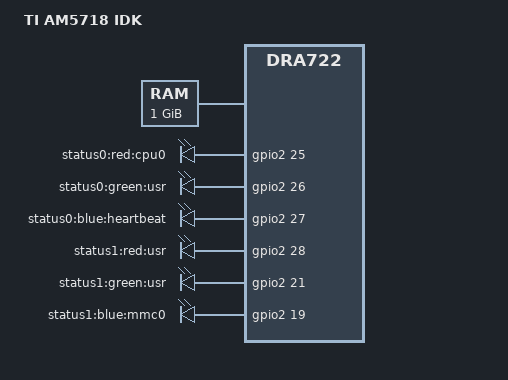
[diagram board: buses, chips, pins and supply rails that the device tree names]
/*
 * Copyright (C) 2015-2016 Texas Instruments Incorporated - http://www.ti.com/
 *
 * This program is free software; you can redistribute it and/or modify
 * it under the terms of the GNU General Public License version 2 as
 * published by the Free Software Foundation.
 */
/dts-v1/;

#include "dra72x.dtsi"
#include <dt-bindings/gpio/gpio.h>
#include <dt-bindings/interrupt-controller/irq.h>
#include "am57xx-idk-common.dtsi"

/ {
	model = "TI AM5718 IDK";
	compatible = "ti,am5718-idk", "ti,am5718", "ti,dra722",
		     "ti,dra72", "ti,dra7";

	chosen {
		stdout-path = &uart3;
	};

	memory {
		device_type = "memory";
		reg = <0x0 0x80000000 0x0 0x40000000>;
	};

	leds@1 {
		compatible = "gpio-leds";
		led@0 {
			label = "status0:red:cpu0";
			gpios = <&gpio2 25 GPIO_ACTIVE_HIGH>;
			default-state = "off";
			linux,default-trigger = "cpu0";
		};

		led@1 {
			label = "status0:green:usr";
			gpios = <&gpio2 26 GPIO_ACTIVE_HIGH>;
			default-state = "off";
		};

		led@2 {
			label = "status0:blue:heartbeat";
			gpios = <&gpio2 27 GPIO_ACTIVE_HIGH>;
			default-state = "off";
			linux,default-trigger = "heartbeat";
		};

		led@3 {
			label = "status1:red:usr";
			gpios = <&gpio2 28 GPIO_ACTIVE_HIGH>;
			default-state = "off";
		};

		led@4 {
			label = "status1:green:usr";
			gpios = <&gpio2 21 GPIO_ACTIVE_HIGH>;
			default-state = "off";
		};

		led@5 {
			label = "status1:blue:mmc0";
			gpios = <&gpio2 19 GPIO_ACTIVE_HIGH>;
			default-state = "off";
			linux,default-trigger = "mmc0";
		};
	};
};

&dra7_pmx_core {
	mmc1_pins_default: mmc1_pins_default {
		pinctrl-single,pins = <
			0x354 (PIN_INPUT_PULLUP | MUX_MODE0) /* mmc1_clk.clk */
			0x358 (PIN_INPUT_PULLUP | MUX_MODE0) /* mmc1_cmd.cmd */
			0x35c (PIN_INPUT_PULLUP | MUX_MODE0) /* mmc1_dat0.dat0 */
			0x360 (PIN_INPUT_PULLUP | MUX_MODE0) /* mmc1_dat1.dat1 */
			0x364 (PIN_INPUT_PULLUP | MUX_MODE0) /* mmc1_dat2.dat2 */
			0x368 (PIN_INPUT_PULLUP | MUX_MODE0) /* mmc1_dat3.dat3 */
		>;
	};

	mmc1_pins_hs: mmc1_pins_hs {
		pinctrl-single,pins = <
			0x354 (PIN_INPUT_PULLUP | MUX_MODE0) /* mmc1_clk.clk */
			0x358 (PIN_INPUT_PULLUP | MUX_MODE0) /* mmc1_cmd.cmd */
			0x35c (PIN_INPUT_PULLUP | MUX_MODE0) /* mmc1_dat0.dat0 */
			0x360 (PIN_INPUT_PULLUP | MUX_MODE0) /* mmc1_dat1.dat1 */
			0x364 (PIN_INPUT_PULLUP | MUX_MODE0) /* mmc1_dat2.dat2 */
			0x368 (PIN_INPUT_PULLUP | MUX_MODE0) /* mmc1_dat3.dat3 */
		>;
	};

	mmc2_pins_default: mmc2_pins_default {
		pinctrl-single,pins = <
			0x9c (PIN_INPUT_PULLUP | MUX_MODE1) /* gpmc_a23.mmc2_clk */
			0xb0 (PIN_INPUT_PULLUP | MUX_MODE1) /* gpmc_cs1.mmc2_cmd */
			0xa0 (PIN_INPUT_PULLUP | MUX_MODE1) /* gpmc_a24.mmc2_dat0 */
			0xa4 (PIN_INPUT_PULLUP | MUX_MODE1) /* gpmc_a25.mmc2_dat1 */
			0xa8 (PIN_INPUT_PULLUP | MUX_MODE1) /* gpmc_a26.mmc2_dat2 */
			0xac (PIN_INPUT_PULLUP | MUX_MODE1) /* gpmc_a27.mmc2_dat3 */
			0x8c (PIN_INPUT_PULLUP | MUX_MODE1) /* gpmc_a19.mmc2_dat4 */
			0x90 (PIN_INPUT_PULLUP | MUX_MODE1) /* gpmc_a20.mmc2_dat5 */
			0x94 (PIN_INPUT_PULLUP | MUX_MODE1) /* gpmc_a21.mmc2_dat6 */
			0x98 (PIN_INPUT_PULLUP | MUX_MODE1) /* gpmc_a22.mmc2_dat7 */
		>;
	};

	mmc2_pins_hs: mmc2_pins_hs {
		pinctrl-single,pins = <
			0x9c (PIN_INPUT_PULLUP | MUX_MODE1) /* gpmc_a23.mmc2_clk */
			0xb0 (PIN_INPUT_PULLUP | MUX_MODE1) /* gpmc_cs1.mmc2_cmd */
			0xa0 (PIN_INPUT_PULLUP | MUX_MODE1) /* gpmc_a24.mmc2_dat0 */
			0xa4 (PIN_INPUT_PULLUP | MUX_MODE1) /* gpmc_a25.mmc2_dat1 */
			0xa8 (PIN_INPUT_PULLUP | MUX_MODE1) /* gpmc_a26.mmc2_dat2 */
			0xac (PIN_INPUT_PULLUP | MUX_MODE1) /* gpmc_a27.mmc2_dat3 */
			0x8c (PIN_INPUT_PULLUP | MUX_MODE1) /* gpmc_a19.mmc2_dat4 */
			0x90 (PIN_INPUT_PULLUP | MUX_MODE1) /* gpmc_a20.mmc2_dat5 */
			0x94 (PIN_INPUT_PULLUP | MUX_MODE1) /* gpmc_a21.mmc2_dat6 */
			0x98 (PIN_INPUT_PULLUP | MUX_MODE1) /* gpmc_a22.mmc2_dat7 */
		>;
	};

	mmc2_pins_ddr_1_8v: mmc2_pins_ddr_1_8v {
		pinctrl-single,pins = <
			0x9c (PIN_INPUT_PULLUP | MANUAL_MODE | MUX_MODE1) /* gpmc_a23.mmc2_clk */
			0xb0 (PIN_INPUT_PULLUP | MANUAL_MODE | MUX_MODE1) /* gpmc_cs1.mmc2_cmd */
			0xa0 (PIN_INPUT_PULLUP | MANUAL_MODE | MUX_MODE1) /* gpmc_a24.mmc2_dat0 */
			0xa4 (PIN_INPUT_PULLUP | MANUAL_MODE | MUX_MODE1) /* gpmc_a25.mmc2_dat1 */
			0xa8 (PIN_INPUT_PULLUP | MANUAL_MODE | MUX_MODE1) /* gpmc_a26.mmc2_dat2 */
			0xac (PIN_INPUT_PULLUP | MANUAL_MODE | MUX_MODE1) /* gpmc_a27.mmc2_dat3 */
			0x8c (PIN_INPUT_PULLUP | MANUAL_MODE | MUX_MODE1) /* gpmc_a19.mmc2_dat4 */
			0x90 (PIN_INPUT_PULLUP | MANUAL_MODE | MUX_MODE1) /* gpmc_a20.mmc2_dat5 */
			0x94 (PIN_INPUT_PULLUP | MANUAL_MODE | MUX_MODE1) /* gpmc_a21.mmc2_dat6 */
			0x98 (PIN_INPUT_PULLUP | MANUAL_MODE | MUX_MODE1) /* gpmc_a22.mmc2_dat7 */
		>;
	};
};

&dra7_iodelay_core {
	mmc2_iodelay_ddr_1_8v_conf: mmc2_iodelay_ddr_1_8v_conf {
		pinctrl-single,pins = <
			0x18c (A_DELAY(0) | G_DELAY(0))		/* CFG_GPMC_A19_IN */
			0x1a4 (A_DELAY(121) | G_DELAY(0))	/* CFG_GPMC_A20_IN */
			0x1b0 (A_DELAY(0) | G_DELAY(0))		/* CFG_GPMC_A21_IN */
			0x1bc (A_DELAY(20) | G_DELAY(0))	/* CFG_GPMC_A22_IN */
			0x1c8 (A_DELAY(108) | G_DELAY(0))	/* CFG_GPMC_A23_IN */
			0x1d4 (A_DELAY(31) | G_DELAY(0))	/* CFG_GPMC_A24_IN */
			0x1e0 (A_DELAY(0) | G_DELAY(0))		/* CFG_GPMC_A25_IN */
			0x1ec (A_DELAY(24) | G_DELAY(0))	/* CFG_GPMC_A26_IN */
			0x1f8 (A_DELAY(0) | G_DELAY(0))		/* CFG_GPMC_A27_IN */
			0x360 (A_DELAY(0) | G_DELAY(0))		/* CFG_GPMC_CS1_IN */
			0x194 (A_DELAY(152) | G_DELAY(0))	/* CFG_GPMC_A19_OUT */
			0x1ac (A_DELAY(206) | G_DELAY(0))	/* CFG_GPMC_A20_OUT */
			0x1b8 (A_DELAY(78) | G_DELAY(0))	/* CFG_GPMC_A21_OUT */
			0x1c4 (A_DELAY(2) | G_DELAY(0))		/* CFG_GPMC_A22_OUT */
			0x1d0 (A_DELAY(266) | G_DELAY(0))	/* CFG_GPMC_A23_OUT */
			0x1dc (A_DELAY(0) | G_DELAY(0))		/* CFG_GPMC_A24_OUT */
			0x1e8 (A_DELAY(0) | G_DELAY(0))		/* CFG_GPMC_A25_OUT */
			0x1f4 (A_DELAY(43) | G_DELAY(0))	/* CFG_GPMC_A26_OUT */
			0x200 (A_DELAY(0) | G_DELAY(0))		/* CFG_GPMC_A27_OUT */
			0x368 (A_DELAY(0) | G_DELAY(0))		/* CFG_GPMC_CS1_OUT */
			0x190 (A_DELAY(0) | G_DELAY(0))		/* CFG_GPMC_A19_OEN */
			0x1a8 (A_DELAY(0) | G_DELAY(0))		/* CFG_GPMC_A20_OEN */
			0x1b4 (A_DELAY(0) | G_DELAY(0))		/* CFG_GPMC_A21_OEN */
			0x1c0 (A_DELAY(0) | G_DELAY(0))		/* CFG_GPMC_A22_OEN */
			0x1d8 (A_DELAY(0) | G_DELAY(0))		/* CFG_GPMC_A24_OEN */
			0x1e4 (A_DELAY(0) | G_DELAY(0))		/* CFG_GPMC_A25_OEN */
			0x1f0 (A_DELAY(0) | G_DELAY(0))		/* CFG_GPMC_A26_OEN */
			0x1fc (A_DELAY(0) | G_DELAY(0))		/* CFG_GPMC_A27_OEN */
			0x364 (A_DELAY(0) | G_DELAY(0))		/* CFG_GPMC_CS1_OEN */
		>;
	};
};

&mmc1 {
	pinctrl-names = "default", "hs";
	pinctrl-0 = <&mmc1_pins_default>;
	pinctrl-1 = <&mmc1_pins_hs>;
};

&mmc2 {
	pinctrl-names = "default", "hs", "ddr_1_8v";
	pinctrl-0 = <&mmc2_pins_default>;
	pinctrl-1 = <&mmc2_pins_hs>;
	pinctrl-2 = <&mmc2_pins_ddr_1_8v &mmc2_iodelay_ddr_1_8v_conf>;
};
